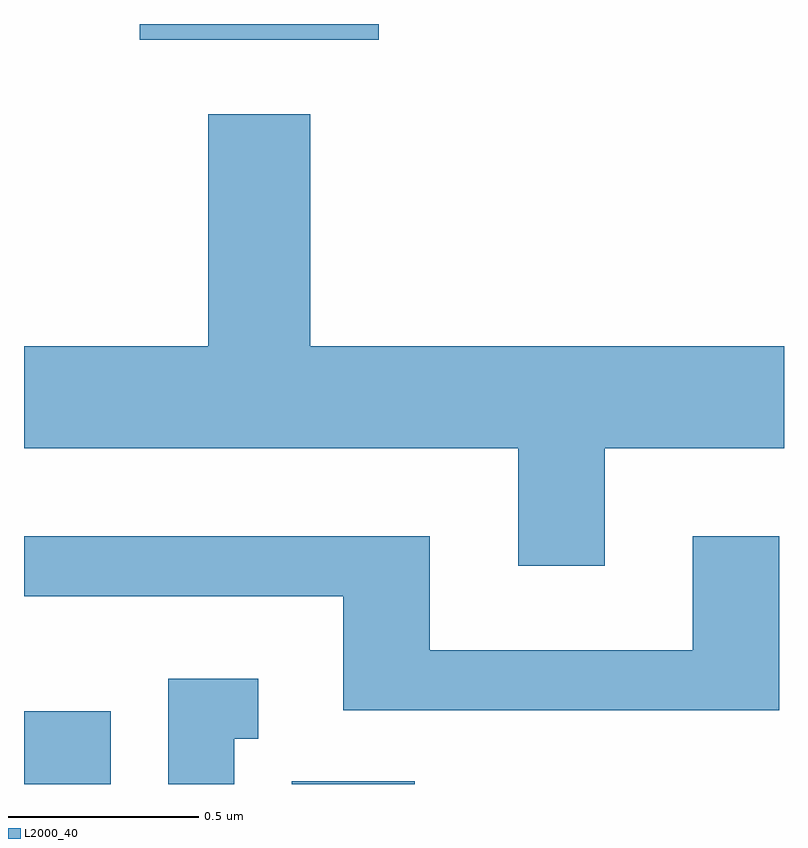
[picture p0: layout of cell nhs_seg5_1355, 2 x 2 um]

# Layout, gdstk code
import gdstk
lib = gdstk.Library(unit=1e-6, precision=1e-09)
def R(c, l, rs):  # rectangles x0, y0, x1, y1
    for r in rs: c.add(gdstk.rectangle(r[:2], r[2:], *l))
def P(c, l, *ps):  # polygons
    for p in ps: c.add(gdstk.Polygon(p, *l))
L2000_40 = (2000, 40)

nhs_seg5_1355 = lib.new_cell('nhs_seg5_1355')
R(nhs_seg5_1355, L2000_40, [(194.611,1518.072,194.839,1518.264), (195.316,1518.072,195.639,1518.079), (194.916,1520.031,195.544,1520.072)])
P(nhs_seg5_1355, L2000_40, [(196.139,1518.956),(196.611,1518.956),(196.611,1519.224),(195.364,1519.224),(195.364,1519.834),(195.096,1519.834),(195.096,1519.224),(194.611,1519.224),(194.611,1518.956),(195.911,1518.956),(195.911,1518.646),(196.139,1518.646)],
  [(196.599,1518.724),(196.371,1518.724),(196.371,1518.424),(195.679,1518.424),(195.679,1518.724),(194.611,1518.724),(194.611,1518.566),(195.451,1518.566),(195.451,1518.266),(196.599,1518.266)],
  [(195.164,1518.191),(195.228,1518.191),(195.228,1518.349),(194.991,1518.349),(194.991,1518.072),(195.164,1518.072)])

lib.write_gds('nhs_seg5_1355.gds')
